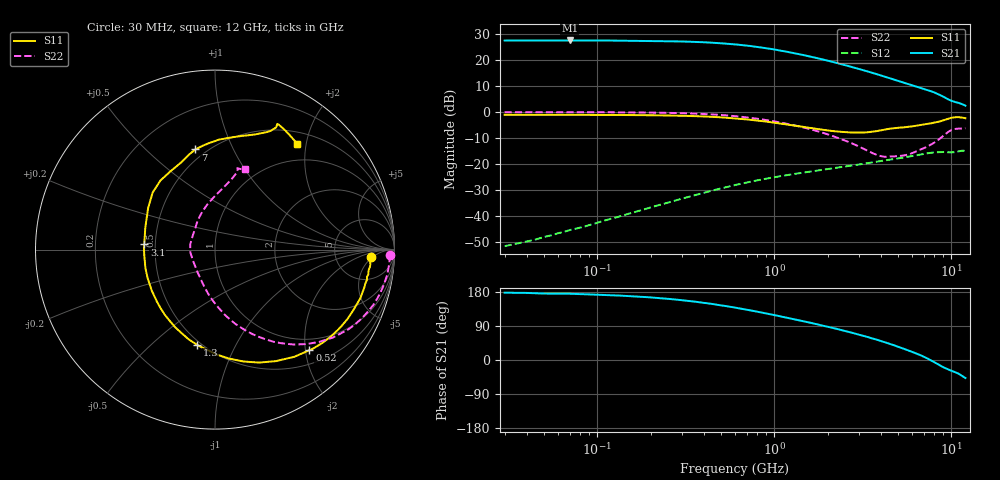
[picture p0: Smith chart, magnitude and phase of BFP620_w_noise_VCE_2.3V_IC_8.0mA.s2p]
! Infineon Technologies  Discrete & RF Semiconductors
! BFP620
! VCE =  2.3 V,  IC =  8.0 mA
! Common Emitter S-Parameters:  Nov 2015
# GHz  S  MA  R  50
!  f  S11  S21  S12  S22
! GHz  MAG  ANG  MAG  ANG  MAG  ANG  MAG  ANG
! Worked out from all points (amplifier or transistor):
!   239 points, 30 MHz to 12 GHz, reference 50 ohm
!   highest |S21| = 27.3 dB at 70 MHz (marker M1)
!   |S21| within 3 dB of that: start of sweep to 904.8 MHz
!   unconditionally stable (mu >= 1): 4.524 GHz to end of sweep
!   at 300 MHz: K = 0.17, MSG = 30.2 dB, |S12| = -33.5 dB
!   at 1.88 GHz: K = 0.66, MSG = 21.2 dB, |S12| = -22.3 dB
!   at 12 GHz: K = 1.16, MAG = 6.2 dB, |S12| = -15.0 dB
!   lowest NFmin = 0.69 dB at 450 MHz
!   S11 on the Smith chart (normalised r, x): 30 MHz: 13, -4; 520 MHz: 0.76, -2.08; 1.3 GHz: 0.48, -0.71; 3.1 GHz: 0.43, +0.03; 7 GHz: 0.44, +0.72; 12 GHz: 0.69, +1.84
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0.03  0.869 -2.7  23.18 177.6  0.0026 55.7  0.9732 -1.8
0.04  0.8644 -3.8  23.28 177.0  0.0032 60.2  0.9737 -2.4
0.05  0.8667 -4.4  23.24 175.3  0.0039 64.7  0.9742 -3.1
0.07  0.868 -6.5  23.28 174.8  0.0053 71.3  0.9742 -4.4
0.085  0.8639 -7.8  23.2 173.5  0.0062 73.0  0.9732 -5.4
0.145  0.8583 -13.5  23.05 169.2  0.0105 75.3  0.9667 -9.4
0.24  0.8448 -22.2  22.59 162.2  0.0171 74.1  0.9486 -15.6
0.36  0.8182 -33.1  21.83 153.7  0.025 70.5  0.9143 -23.0
0.44  0.7956 -40.0  21.13 148.3  0.03 67.7  0.8859 -27.9
0.52  0.7689 -46.8  20.36 143.1  0.0345 64.8  0.8534 -32.3
0.6  0.7434 -53.4  19.59 138.3  0.0388 62.1  0.8204 -36.6
0.7  0.7083 -61.3  18.57 132.6  0.0435 58.9  0.7753 -41.6
0.9  0.6434 -75.7  16.53 122.7  0.0515 53.4  0.6885 -50.2
1.1  0.5863 -88.7  14.74 114.4  0.058 49.0  0.6116 -57.3
1.3  0.5406 -100.5  13.21 107.4  0.0635 45.7  0.5446 -63.3
1.64  0.4791 -119.3  11.18 97.1  0.0714 41.1  0.4493 -72.5
2.2  0.4198 -147.2  8.776 83.2  0.0824 35.3  0.3278 -86.1
3.1  0.3953 175.8  6.408 65.3  0.0979 28.1  0.2032 -109.2
4.5  0.4708 137.6  4.37 42.2  0.1194 17.3  0.1382 -173.1
7  0.5686 101.1  2.718 8.4  0.1543 -1.8  0.1989 116.4
9  0.6787 70.9  1.942 -19.1  0.1675 -21.6  0.3423 83.1
12  0.747 52.2  1.3 -47.5  0.1771 -41.1  0.4789 69.6
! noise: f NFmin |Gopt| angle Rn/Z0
0.45  0.69  0.31  2  0.13
0.9  0.7  0.25  7  -0.06
1.9  0.72  0.15  26  -0.14
2.4  0.77  0.08  46  0.11
3.5  0.83  0.03  -168  0.12
5.5  1.17  0.07  -122  0.14
10  1.72  0.6  -53  0.74
